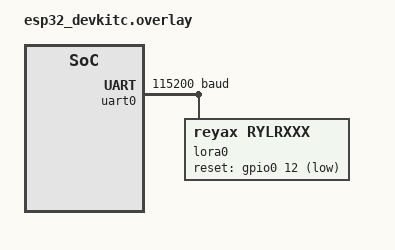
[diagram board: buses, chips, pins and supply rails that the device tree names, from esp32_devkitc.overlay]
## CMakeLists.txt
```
cmake_minimum_required(VERSION 3.28.0)

set(ZEPHYR_BASE "${CMAKE_CURRENT_LIST_DIR}/lib/zephyr-workspace/zephyr" CACHE PATH "Zephyr base" FORCE)
#Zephyr Base directory added to project
set(Zephyr_DIR "${ZEPHYR_BASE}/share/zephyr-package/cmake" CACHE PATH "Zephyr package" FORCE)

# Zephyr discovers module CMake and Kconfig files during find_package().
list(APPEND EXTRA_ZEPHYR_MODULES "${CMAKE_CURRENT_SOURCE_DIR}/lib/pigweed")
find_package(Zephyr REQUIRED HINTS "${ZEPHYR_BASE}")

target_sources(app PRIVATE src/main.cpp)

project(IEEE_LoRa_Communicator CXX)

add_subdirectory(src/Rylar_998_Manager)
```

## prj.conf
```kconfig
# C++17 and the complete standard library required by Pigweed.
CONFIG_CPP=y
CONFIG_STD_CPP17=y
CONFIG_REQUIRES_FULL_LIBCPP=y
CONFIG_GLIBCXX_LIBCPP=y
CONFIG_CPP_EXCEPTIONS=n

# IO Configuration.
CONFIG_GPIO=y
CONFIG_SERIAL=y
CONFIG_LORA=y
CONFIG_CONSOLE=y
CONFIG_UART_CONSOLE=y
CONFIG_UART_INTERRUPT_DRIVEN=y
CONFIG_LORA_LOG_LEVEL_DBG=y

# Timestamped demonstration logs, formatted by Zephyr's UART backend.
CONFIG_LOG=y
CONFIG_LOG_DEFAULT_LEVEL=3
CONFIG_LOG_BACKEND_UART=y
CONFIG_LOG_MODE_DEFERRED=y
CONFIG_LOG_PROCESS_THREAD=y
CONFIG_LOG_PROCESS_THREAD_SLEEP_MS=100
CONFIG_LOG_PROCESS_THREAD_STACK_SIZE=3072
CONFIG_LOG_BUFFER_SIZE=4096
CONFIG_LOG_BACKEND_SHOW_TIMESTAMP=y
CONFIG_LOG_BACKEND_SHOW_LEVEL=y
CONFIG_LOG_BACKEND_SHOW_COLOR=n
CONFIG_LOG_PRINTK=y
CONFIG_CBPRINTF_FP_SUPPORT=y

# Route Pigweed PW_LOG_* messages through Zephyr's UART logging backend.
CONFIG_PIGWEED_LOG_ZEPHYR=y
CONFIG_PIGWEED_LOG_LEVEL_INF=y

# Pigweed's C++ interfaces use the Zephyr kernel underneath.
CONFIG_PIGWEED_SYNC_MUTEX=y
CONFIG_PIGWEED_THREAD=y
CONFIG_PIGWEED_THREAD_SLEEP=y
CONFIG_PIGWEED_CHRONO_SYSTEM_CLOCK=y
CONFIG_MULTITHREADING=y
CONFIG_THREAD_NAME=y
CONFIG_NUM_PREEMPT_PRIORITIES=8
CONFIG_MAIN_STACK_SIZE=2048
CONFIG_ASSERT=y
```

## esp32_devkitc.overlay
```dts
/ {
	aliases {
		lora0 = &lora0;
	};
};

&uart0 {
	status = "okay";
	current-speed = <115200>;

	lora0: rylr998 {
		compatible = "reyax,rylrxxx";
		reset-gpios = <&gpio0 12 GPIO_ACTIVE_LOW>;
		status = "okay";
	};
};
```

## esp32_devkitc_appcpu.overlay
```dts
&uart0 {
	status = "okay";
	current-speed = <115200>;

	lora0: rylr998 {
		compatible = "reyax,rylrxxx";
		reset-gpios = <&gpio0 12 GPIO_ACTIVE_LOW>;
		status = "okay";
	};
};
```

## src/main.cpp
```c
#include "Rylar_998_Manager.hpp"
#include <zephyr/drivers/lora.h>
#include <zephyr/kernel.h>
#include <zephyr/logging/log.h>

LOG_MODULE_REGISTER(main);

#define LORA_NODE DT_ALIAS(lora0)
const struct device *lora_dev = DEVICE_DT_GET(LORA_NODE);

int main() {
    struct lora_modem_config config{};

    config.frequency = 915000000;      // 915 MHz (or 868000000 for EU) 
    config.bandwidth = BW_125_KHZ;     // BW_125_KHZ, BW_250_KHZ, or BW_500_KHZ 
    config.datarate = SF_9;            // 7 to 12 
    config.coding_rate = CR_4_5;       // CR_4_5 (1) to CR_4_8 (4) 
    config.preamble_len = 6;           // Driver requires 4 to 7 
    config.tx_power = 14;              // Driver requires <= 15 
    config.tx = true;                  // true for TX mode, false for RX mode 

    Rylar_998_Manager manager;
    manager.configure(lora_dev, config);
}
```
